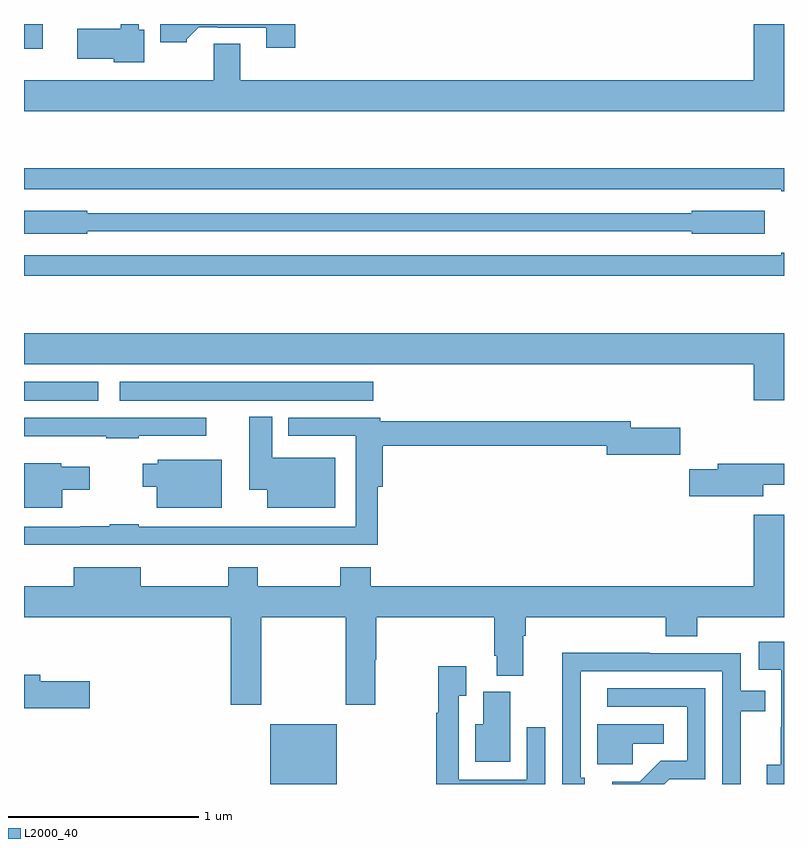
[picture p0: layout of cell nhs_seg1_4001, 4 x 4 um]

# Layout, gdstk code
import gdstk
lib = gdstk.Library(unit=1e-6, precision=1e-09)
def R(c, l, rs):  # rectangles x0, y0, x1, y1
    for r in rs: c.add(gdstk.rectangle(r[:2], r[2:], *l))
def P(c, l, *ps):  # polygons
    for p in ps: c.add(gdstk.Polygon(p, *l))
L2000_40 = (2000, 40)

nhs_seg1_4001 = lib.new_cell('nhs_seg1_4001')
R(nhs_seg1_4001, L2000_40, [(330.296,540.199,330.646,540.514), (329,542.216,329.392,542.317), (329.505,542.216,330.838,542.317), (329,544.068,329.098,544.199)])
P(nhs_seg1_4001, L2000_40, [(333,544.199),(332.84,544.199),(332.84,543.904),(330.139,543.904),(330.139,544.094),(329.999,544.094),(329.999,543.904),(329,543.904),(329,543.74),(333,543.74)],
  [(329.632,544.17),(329.604,544.17),(329.604,544.199),(329.508,544.199),(329.508,544.174),(329.28,544.174),(329.28,544.016),(329.472,544.016),(329.472,543.998),(329.632,543.998)],
  [(330.428,544.199),(329.717,544.199),(329.717,544.103),(329.856,544.103),(329.856,544.118),(329.92,544.182),(330.019,544.182),(330.019,544.179),(330.275,544.179),(330.275,544.074),(330.428,544.074)],
  [(333,543.439),(329,543.439),(329,543.33),(332.986,543.33),(332.986,543.318),(333,543.318)],
  [(329.334,543.108),(332.514,543.108),(332.514,543.095),(332.899,543.095),(332.899,543.217),(332.514,543.217),(332.514,543.204),(329.334,543.204),(329.334,543.217),(329,543.217),(329,543.095),(329.334,543.095)],
  [(333,542.995),(332.986,542.995),(332.986,542.982),(329,542.982),(329,542.874),(333,542.874)],
  [(333,542.572),(329,542.572),(329,542.408),(332.84,542.408),(332.84,542.22),(333,542.22)],
  [(330.637,541.915),(330.307,541.915),(330.307,542.131),(330.185,542.131),(330.185,541.748),(330.281,541.748),(330.281,541.652),(330.637,541.652)],
  [(329.603,542.031),(329.959,542.031),(329.959,542.127),(329,542.127),(329,542.03),(329.434,542.03),(329.434,542.019),(329.603,542.019)],
  [(329.165,541.458),(329.71,541.458),(329.71,541.457),(329.987,541.457),(329.987,541.458),(330.319,541.458),(330.319,541.457),(330.575,541.457),(330.575,541.458),(330.863,541.458),(330.863,541.763),(330.887,541.763),(330.887,541.978),(332.066,541.978),(332.066,541.931),(332.455,541.931),(332.455,542.073),(332.194,542.073),(332.194,542.107),(330.874,542.107),(330.874,542.127),(330.392,542.127),(330.392,542.031),(330.747,542.031),(330.747,541.554),(329.603,541.554),(329.603,541.567),(329.45,541.567),(329.45,541.556),(329.296,541.556),(329.296,541.554),(329,541.554),(329,541.457),(329.165,541.457)],
  [(330.04,541.906),(329.703,541.906),(329.703,541.885),(329.624,541.885),(329.624,541.763),(329.699,541.763),(329.699,541.652),(330.04,541.652)],
  [(329.2,541.748),(329.347,541.748),(329.347,541.87),(329.196,541.87),(329.196,541.888),(329,541.888),(329,541.652),(329.2,541.652)],
  [(332.89,541.775),(333,541.775),(333,541.885),(332.651,541.885),(332.651,541.856),(332.502,541.856),(332.502,541.714),(332.89,541.714)],
  [(330.249,541.076),(330.694,541.076),(330.694,540.615),(330.849,540.615),(330.849,540.854),(330.854,540.854),(330.854,541.076),(331.475,541.076),(331.475,540.874),(331.487,540.874),(331.487,540.769),(331.627,540.769),(331.627,540.98),(331.64,540.98),(331.64,541.076),(332.378,541.076),(332.378,540.977),(332.543,540.977),(332.543,541.076),(333,541.076),(333,541.615),(332.84,541.615),(332.84,541.24),(330.824,541.24),(330.824,541.339),(330.664,541.339),(330.664,541.24),(330.231,541.24),(330.231,541.339),(330.076,541.339),(330.076,541.24),(329.614,541.24),(329.614,541.339),(329.261,541.339),(329.261,541.24),(329,541.24),(329,541.076),(330.089,541.076),(330.089,540.615),(330.249,540.615)],
  [(333,540.949),(332.868,540.949),(332.868,540.801),(332.985,540.801),(332.985,540.497),(332.984,540.497),(332.984,540.3),(332.91,540.3),(332.91,540.199),(333,540.199)],
  [(331.951,540.231),(331.929,540.231),(331.929,540.792),(332.676,540.792),(332.676,540.199),(332.773,540.199),(332.773,540.582),(332.9,540.582),(332.9,540.69),(332.772,540.69),(332.772,540.888),(332.294,540.888),(332.294,540.89),(331.832,540.89),(331.832,540.586),(331.833,540.586),(331.833,540.199),(331.951,540.199)],
  [(331.743,540.499),(331.647,540.499),(331.647,540.222),(331.287,540.222),(331.287,540.664),(331.327,540.664),(331.327,540.82),(331.179,540.82),(331.179,540.575),(331.171,540.575),(331.171,540.199),(331.743,540.199)],
  [(329.347,540.741),(329.086,540.741),(329.086,540.775),(329,540.775),(329,540.599),(329.347,540.599)],
  [(332.397,540.225),(332.586,540.225),(332.586,540.702),(332.07,540.702),(332.07,540.606),(332.49,540.606),(332.49,540.321),(332.352,540.321),(332.241,540.21),(332.097,540.21),(332.097,540.199),(332.371,540.199)],
  [(331.558,540.684),(331.418,540.684),(331.418,540.514),(331.376,540.514),(331.376,540.317),(331.558,540.317)],
  [(332.205,540.41),(332.368,540.41),(332.368,540.514),(332.018,540.514),(332.018,540.303),(332.205,540.303)])

lib.write_gds('nhs_seg1_4001.gds')
